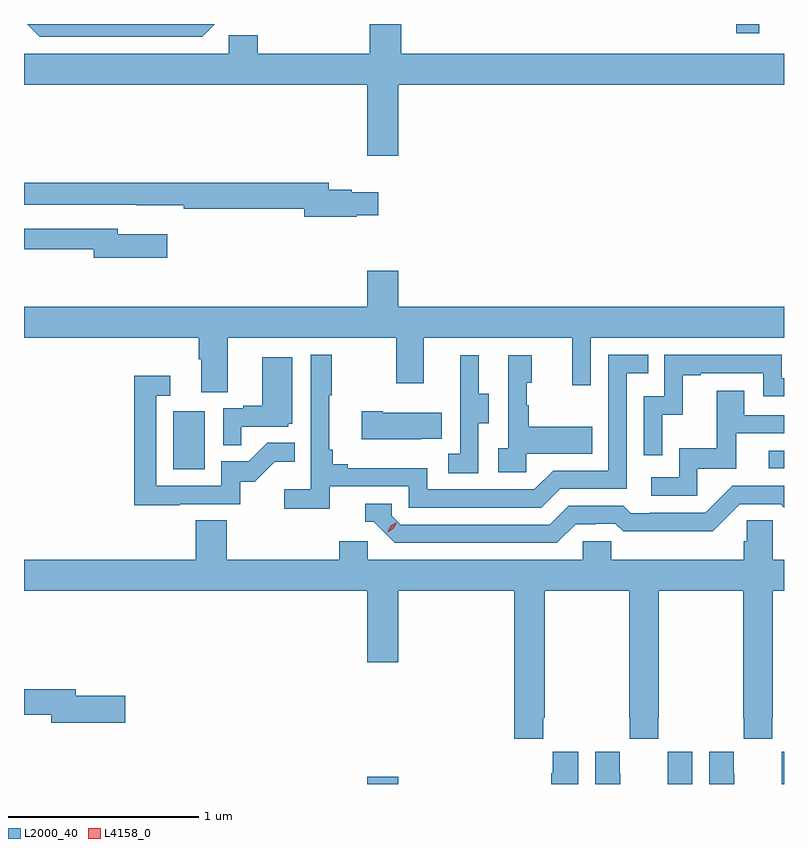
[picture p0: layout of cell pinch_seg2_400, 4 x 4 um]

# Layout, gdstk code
import gdstk
lib = gdstk.Library(unit=1e-6, precision=1e-09)
def R(c, l, rs):  # rectangles x0, y0, x1, y1
    for r in rs: c.add(gdstk.rectangle(r[:2], r[2:], *l))
def P(c, l, *ps):  # polygons
    for p in ps: c.add(gdstk.Polygon(p, *l))
L2000_40 = (2000, 40)
L4158_0 = (4158, 0)

pinch_seg2_400 = lib.new_cell('pinch_seg2_400')
R(pinch_seg2_400, L2000_40, [(992.18,614.652,992.344,614.689), (991.16,616.308,991.324,616.615), (994.293,616.314,994.374,616.407), (994.122,618.603,994.243,618.652)])
P(pinch_seg2_400, L2000_40, [(992.195,618.496),(991.604,618.496),(991.604,618.594),(991.452,618.594),(991.452,618.496),(990.374,618.496),(990.374,618.332),(992.18,618.332),(992.18,617.958),(992.344,617.958),(992.344,618.332),(994.374,618.332),(994.374,618.496),(992.36,618.496),(992.36,618.652),(992.195,618.652)],
  [(991.378,618.652),(990.391,618.652),(990.458,618.585),(991.311,618.585)],
  [(992.126,617.645),(992.239,617.645),(992.239,617.767),(992.1,617.767),(992.1,617.78),(991.978,617.78),(991.978,617.816),(990.374,617.816),(990.374,617.7),(990.964,617.7),(990.964,617.699),(991.216,617.699),(991.216,617.68),(991.85,617.68),(991.85,617.638),(992.126,617.638)],
  [(991.129,617.545),(990.868,617.545),(990.868,617.574),(990.374,617.574),(990.374,617.466),(990.74,617.466),(990.74,617.423),(991.129,617.423)],
  [(991.447,617),(992.332,617),(992.332,616.761),(992.479,616.761),(992.479,617),(993.26,617),(993.26,616.752),(993.357,616.752),(993.357,617),(994.374,617),(994.374,617.164),(992.344,617.164),(992.344,617.353),(992.18,617.353),(992.18,617.164),(990.374,617.164),(990.374,617),(991.295,617),(991.295,616.888),(991.307,616.888),(991.307,616.714),(991.447,616.714)],
  [(991.982,616.218),(992.4,616.218),(992.4,616.107),(993.097,616.107),(993.196,616.206),(993.546,616.206),(993.546,616.815),(993.659,616.815),(993.659,616.911),(993.45,616.911),(993.45,616.302),(993.159,616.302),(993.06,616.203),(992.496,616.203),(992.496,616.315),(992.077,616.315),(992.077,616.334),(992,616.334),(992,616.411),(991.981,616.411),(991.981,616.699),(991.993,616.699),(991.993,616.912),(991.884,616.912),(991.884,616.204),(991.743,616.204),(991.743,616.102),(991.982,616.102)],
  [(993.732,616.595),(993.842,616.595),(993.842,616.803),(993.937,616.803),(993.937,616.815),(994.266,616.815),(994.266,616.692),(994.374,616.692),(994.374,616.788),(994.362,616.788),(994.362,616.911),(993.744,616.911),(993.744,616.692),(993.636,616.692),(993.636,616.383),(993.732,616.383)],
  [(992.766,616.552),(992.821,616.552),(992.821,616.707),(992.767,616.707),(992.767,616.909),(992.669,616.909),(992.669,616.695),(992.67,616.695),(992.67,616.391),(992.607,616.391),(992.607,616.288),(992.766,616.288)],
  [(993.018,616.391),(993.365,616.391),(993.365,616.531),(993.031,616.531),(993.031,616.646),(993.021,616.646),(993.021,616.764),(993.046,616.764),(993.046,616.909),(992.922,616.909),(992.922,616.418),(992.871,616.418),(992.871,616.293),(993.018,616.293)],
  [(991.517,616.533),(991.764,616.533),(991.764,616.548),(991.786,616.548),(991.786,616.897),(991.628,616.897),(991.628,616.642),(991.529,616.642),(991.529,616.629),(991.422,616.629),(991.422,616.435),(991.517,616.435)],
  [(991.193,616.125),(991.512,616.125),(991.512,616.242),(991.588,616.242),(991.695,616.349),(991.799,616.349),(991.799,616.448),(991.655,616.448),(991.557,616.35),(991.413,616.35),(991.413,616.221),(991.071,616.221),(991.071,616.695),(991.144,616.695),(991.144,616.801),(990.955,616.801),(990.955,616.12),(991.193,616.12)],
  [(993.918,616.311),(994.123,616.311),(994.123,616.497),(994.374,616.497),(994.374,616.593),(994.165,616.593),(994.165,616.723),(994.021,616.723),(994.021,616.42),(993.822,616.42),(993.822,616.266),(993.675,616.266),(993.675,616.17),(993.918,616.17)],
  [(992.465,616.469),(992.573,616.469),(992.573,616.606),(992.263,616.606),(992.263,616.614),(992.151,616.614),(992.151,616.466),(992.465,616.466)],
  [(993.277,616.02),(993.384,616.02),(993.384,616.023),(993.487,616.023),(993.529,615.981),(993.762,615.981),(993.762,615.983),(993.998,615.983),(994.14,616.125),(994.356,616.125),(994.374,616.107),(994.374,616.221),(994.101,616.221),(993.96,616.08),(993.667,616.08),(993.667,616.077),(993.568,616.077),(993.529,616.116),(993.24,616.116),(993.141,616.017),(992.358,616.017),(992.31,616.065),(992.31,616.128),(992.171,616.128),(992.171,616.032),(992.214,616.032),(992.325,615.921),(993.178,615.921)],
  [(993.107,615.001),(993.114,615.001),(993.114,615.668),(993.559,615.668),(993.559,615.001),(993.561,615.001),(993.561,614.889),(993.711,614.889),(993.711,615.001),(993.714,615.001),(993.714,615.668),(994.159,615.668),(994.159,615.001),(994.161,615.001),(994.161,614.889),(994.311,614.889),(994.311,615.001),(994.314,615.001),(994.314,615.668),(994.374,615.668),(994.374,615.832),(994.314,615.832),(994.314,616.04),(994.177,616.04),(994.177,615.93),(994.163,615.93),(994.163,615.832),(993.465,615.832),(993.465,615.93),(993.315,615.93),(993.315,615.832),(992.184,615.832),(992.184,615.93),(992.033,615.93),(992.033,615.832),(991.442,615.832),(991.442,616.04),(991.277,616.04),(991.277,615.832),(990.374,615.832),(990.374,615.668),(992.18,615.668),(992.18,615.294),(992.344,615.294),(992.344,615.668),(992.954,615.668),(992.954,614.889),(993.107,614.889)],
  [(990.907,615.116),(990.646,615.116),(990.646,615.152),(990.374,615.152),(990.374,615.016),(990.518,615.016),(990.518,614.974),(990.907,614.974)],
  [(994.374,614.821),(994.362,614.821),(994.362,614.708),(994.361,614.708),(994.361,614.652),(994.374,614.652)],
  [(993.892,614.821),(993.762,614.821),(993.762,614.708),(993.761,614.708),(993.761,614.652),(993.892,614.652)],
  [(993.511,614.708),(993.51,614.708),(993.51,614.821),(993.38,614.821),(993.38,614.652),(993.511,614.652)],
  [(993.292,614.821),(993.158,614.821),(993.158,614.708),(993.149,614.708),(993.149,614.652),(993.292,614.652)],
  [(994.111,614.708),(994.11,614.708),(994.11,614.821),(993.98,614.821),(993.98,614.652),(994.111,614.652)])
P(pinch_seg2_400, L4158_0, [(992.288,615.978),(992.288,615.978),(992.304,616.011),(992.335,616.029),(992.335,616.029),(992.335,616.029),(992.319,615.997),(992.288,615.978)])

lib.write_gds('pinch_seg2_400.gds')
